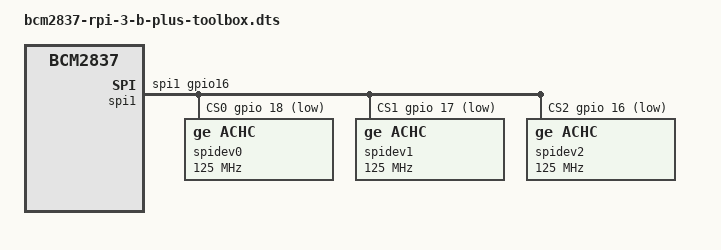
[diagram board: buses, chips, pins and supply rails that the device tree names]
#include "bcm2837-rpi-3-b-plus.dts"

&gpio {
	spi1_gpio16: spi1_gpio16 {
		brcm,pins = <16 17 18>;
		/* the bcm aux spi driver is not setup to handle CS pins, setup as gpios instead */
		brcm,function = <BCM2835_FSEL_GPIO_OUT>;
	};
	spi1_gpio_data: spi1_gpio_data {
		brcm,pins = <19 20 21>;
		brcm,function = <BCM2835_FSEL_ALT4>;
	};
};

&spi1 {
	#address-cells = <1>;
	#size-cells = <0>;
	pinctrl-names = "default";
	pinctrl-0 = <&spi1_gpio16 &spi1_gpio_data>;
	cs-gpios = <&gpio 18 1>, <&gpio 17 1>, <&gpio 16 1>;
	status = "okay";

	spidev0: spidev@0 {
		compatible = "ge,achc"; /* avoid the need to patch the kernel, abuse the spidev compatible set */
		reg = <0>; /* CE0 */
		#address-cells = <1>;
		#size-cells = <0>;
		spi-max-frequency = <125000000>;
		status = "okay";
	};

	spidev1: spidev@1 {
		compatible = "ge,achc";
		reg = <1>; /* CE1 */
		#address-cells = <1>;
		#size-cells = <0>;
		spi-max-frequency = <125000000>;
		status = "okay";
	};

	spidev2: spidev@2 {
		compatible = "ge,achc";
		reg = <2>; /* CE2 */
		#address-cells = <1>;
		#size-cells = <0>;
		spi-max-frequency = <125000000>;
		status = "okay";
	};
};

